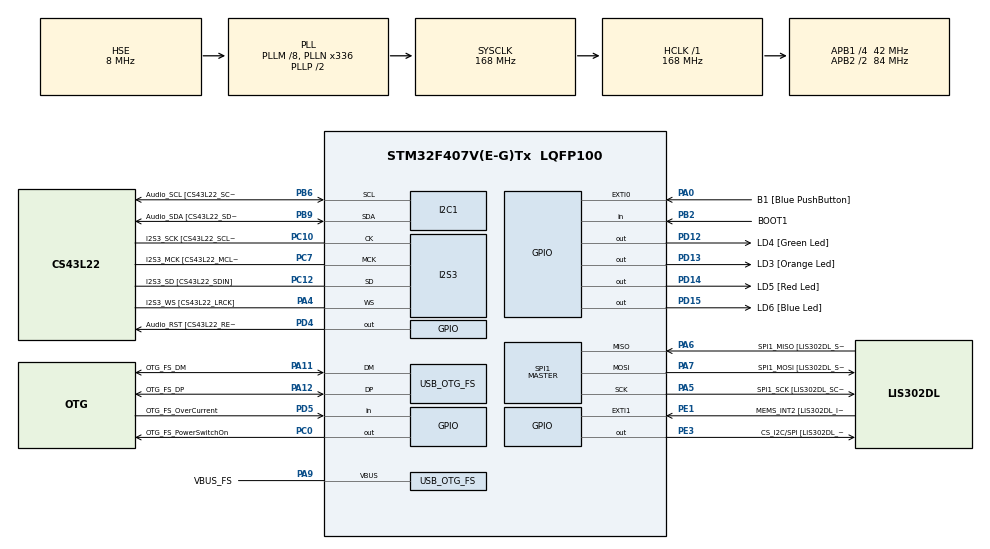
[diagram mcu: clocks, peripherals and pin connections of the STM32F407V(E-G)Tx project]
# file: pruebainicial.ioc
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FREERTOS.Tasks01=defaultTask,24,128,StartDefaultTask,Default,NULL,Dynamic,NULL,NULL
I2S3.AudioFreq-Half_Duplex_Master=I2S_AUDIOFREQ_96K
I2S3.ErrorAudioFreq=-2.34 %
I2S3.ErrorAudioFreq-Half_Duplex_Master=0.8 %
I2S3.FullDuplexMode=I2S_FULLDUPLEXMODE_DISABLE
I2S3.Instance=SPI$Index
I2S3.RealAudioFreq=93.75 KHz
I2S3.RealAudioFreq-Half_Duplex_Master=96.774 KHz
I2S3.VirtualMode=I2S_MODE_MASTER
Mcu.Family=STM32F4
Mcu.Name=STM32F407V(E-G)Tx
Mcu.Package=LQFP100
NVIC.OTG_FS_IRQn=true\:5\:0\:false\:false\:true\:true\:true\:true\:true
NVIC.PriorityGroup=NVIC_PRIORITYGROUP_4
NVIC.TIM1_UP_TIM10_IRQn=true\:15\:0\:false\:false\:true\:false\:false\:true\:true
NVIC.TimeBase=TIM1_UP_TIM10_IRQn
NVIC.TimeBaseIP=TIM1
PA0-WKUP.GPIO_Label=B1 [Blue PushButton]
PA0-WKUP.GPIO_ModeDefaultEXTI=GPIO_MODE_EVT_RISING
PA0-WKUP.GPIO_PuPd=GPIO_NOPULL
PA0-WKUP.Signal=GPXTI0
PA10.GPIO_Label=OTG_FS_ID
PA10.GPIO_Mode=GPIO_MODE_AF_PP
PA10.GPIO_PuPd=GPIO_NOPULL
PA10.GPIO_Speed=GPIO_SPEED_FREQ_LOW
PA10.Signal=USB_OTG_FS_ID
PA11.GPIO_Label=OTG_FS_DM
PA11.GPIO_Mode=GPIO_MODE_AF_PP
PA11.GPIO_PuPd=GPIO_NOPULL
PA11.GPIO_Speed=GPIO_SPEED_FREQ_LOW
PA11.Mode=Host_Only
PA11.Signal=USB_OTG_FS_DM
PA12.GPIO_Label=OTG_FS_DP
PA12.GPIO_Mode=GPIO_MODE_AF_PP
PA12.GPIO_PuPd=GPIO_NOPULL
PA12.GPIO_Speed=GPIO_SPEED_FREQ_LOW
PA12.Mode=Host_Only
PA12.Signal=USB_OTG_FS_DP
PA13.GPIO_Label=SWDIO
PA13.Mode=Serial_Wire
PA13.Signal=SYS_JTMS-SWDIO
PA14.GPIO_Label=SWCLK
PA14.Mode=Serial_Wire
PA14.Signal=SYS_JTCK-SWCLK
PA4.GPIO_Label=I2S3_WS [CS43L22_LRCK]
PA4.GPIO_Mode=GPIO_MODE_AF_PP
PA4.GPIO_PuPd=GPIO_NOPULL
PA4.GPIO_Speed=GPIO_SPEED_FREQ_LOW
PA4.Mode=Half_Duplex_Master
PA4.Signal=I2S3_WS
PA5.GPIO_Label=SPI1_SCK [LIS302DL_SCL/SPC]
PA5.GPIO_Mode=GPIO_MODE_AF_PP
PA5.GPIO_PuPd=GPIO_NOPULL
PA5.GPIO_Speed=GPIO_SPEED_FREQ_LOW
PA5.Mode=Full_Duplex_Master
PA5.Signal=SPI1_SCK
PA6.GPIO_Label=SPI1_MISO [LIS302DL_SDO]
PA6.GPIO_Mode=GPIO_MODE_AF_PP
PA6.GPIO_PuPd=GPIO_NOPULL
PA6.GPIO_Speed=GPIO_SPEED_FREQ_LOW
PA6.Mode=Full_Duplex_Master
PA6.Signal=SPI1_MISO
PA7.GPIO_Label=SPI1_MOSI [LIS302DL_SDA/SDI/SDO]
PA7.GPIO_Mode=GPIO_MODE_AF_PP
PA7.GPIO_PuPd=GPIO_NOPULL
PA7.GPIO_Speed=GPIO_SPEED_FREQ_LOW
PA7.Mode=Full_Duplex_Master
PA7.Signal=SPI1_MOSI
PA9.GPIO_Label=VBUS_FS
PA9.GPIO_Mode=GPIO_MODE_INPUT
PA9.GPIO_PuPd=GPIO_NOPULL
PA9.Mode=Activate_VBUS
PA9.Signal=USB_OTG_FS_VBUS
PB10.GPIO_Label=CLK_IN [MP45DT02_CLK]
PB10.GPIO_Mode=GPIO_MODE_AF_PP
PB10.GPIO_PuPd=GPIO_NOPULL
PB10.GPIO_Speed=GPIO_SPEED_FREQ_LOW
PB10.Signal=I2S2_CK
PB2.GPIO_Label=BOOT1
PB2.GPIO_Mode=GPIO_MODE_INPUT
PB2.GPIO_PuPd=GPIO_NOPULL
PB2.Signal=GPIO_Input
PB3.GPIO_Label=SWO
PB3.Signal=SYS_JTDO-SWO
PB6.GPIO_Label=Audio_SCL [CS43L22_SCL]
PB6.GPIO_Mode=GPIO_MODE_AF_OD
PB6.GPIO_Pu=GPIO_PULLUP
PB6.GPIO_PuPd=GPIO_NOPULL
PB6.GPIO_Speed=GPIO_SPEED_FREQ_LOW
PB6.Mode=I2C
PB6.Signal=I2C1_SCL
PB9.GPIO_Label=Audio_SDA [CS43L22_SDA]
PB9.GPIO_Mode=GPIO_MODE_AF_OD
PB9.GPIO_Pu=GPIO_PULLUP
PB9.GPIO_PuPd=GPIO_NOPULL
PB9.GPIO_Speed=GPIO_SPEED_FREQ_LOW
PB9.Mode=I2C
PB9.Signal=I2C1_SDA
PC0.GPIO_Label=OTG_FS_PowerSwitchOn
PC0.GPIO_PuPd=GPIO_NOPULL
PC0.GPIO_Speed=GPIO_SPEED_FREQ_LOW
PC0.PinState=GPIO_PIN_SET
PC0.Signal=GPIO_Output
PC10.GPIO_Label=I2S3_SCK [CS43L22_SCLK]
PC10.GPIO_Mode=GPIO_MODE_AF_PP
PC10.GPIO_PuPd=GPIO_NOPULL
PC10.GPIO_Speed=GPIO_SPEED_FREQ_LOW
PC10.Mode=Half_Duplex_Master
PC10.Signal=I2S3_CK
PC12.GPIO_Label=I2S3_SD [CS43L22_SDIN]
PC12.GPIO_Mode=GPIO_MODE_AF_PP
PC12.GPIO_PuPd=GPIO_NOPULL
PC12.GPIO_Speed=GPIO_SPEED_FREQ_LOW
PC12.Mode=Half_Duplex_Master
PC12.Signal=I2S3_SD
PC14-OSC32_IN.GPIO_Label=PC14-OSC32_IN
PC14-OSC32_IN.Mode=LSE-External-Oscillator
PC14-OSC32_IN.Signal=RCC_OSC32_IN
PC15-OSC32_OUT.GPIO_Label=PC15-OSC32_OUT
PC15-OSC32_OUT.Mode=LSE-External-Oscillator
PC15-OSC32_OUT.Signal=RCC_OSC32_OUT
PC3.GPIO_Label=PDM_OUT [MP45DT02_DOUT]
PC3.GPIO_Mode=GPIO_MODE_AF_PP
PC3.GPIO_PuPd=GPIO_NOPULL
PC3.GPIO_Speed=GPIO_SPEED_FREQ_LOW
PC3.Signal=I2S2_SD
PC7.GPIO_Label=I2S3_MCK [CS43L22_MCLK]
PC7.GPIO_Mode=GPIO_MODE_AF_PP
PC7.GPIO_PuPd=GPIO_NOPULL
PC7.GPIO_Speed=GPIO_SPEED_FREQ_LOW
PC7.Mode=Master_Clock_Activated
PC7.Signal=I2S3_MCK
PD12.GPIO_Label=LD4 [Green Led]
PD12.GPIO_PuPd=GPIO_NOPULL
PD12.GPIO_Speed=GPIO_SPEED_FREQ_LOW
PD12.Signal=GPIO_Output
PD13.GPIO_Label=LD3 [Orange Led]
PD13.GPIO_PuPd=GPIO_NOPULL
PD13.GPIO_Speed=GPIO_SPEED_FREQ_LOW
PD13.Signal=GPIO_Output
PD14.GPIO_Label=LD5 [Red Led]
PD14.GPIO_PuPd=GPIO_NOPULL
PD14.GPIO_Speed=GPIO_SPEED_FREQ_LOW
PD14.Signal=GPIO_Output
PD15.GPIO_Label=LD6 [Blue Led]
PD15.GPIO_PuPd=GPIO_NOPULL
PD15.GPIO_Speed=GPIO_SPEED_FREQ_LOW
PD15.Signal=GPIO_Output
PD4.GPIO_Label=Audio_RST [CS43L22_RESET]
PD4.GPIO_PuPd=GPIO_NOPULL
PD4.GPIO_Speed=GPIO_SPEED_FREQ_LOW
PD4.Signal=GPIO_Output
PD5.GPIO_Label=OTG_FS_OverCurrent
PD5.GPIO_Mode=GPIO_MODE_INPUT
PD5.GPIO_PuPd=GPIO_NOPULL
PD5.Signal=GPIO_Input
PE1.GPIO_Label=MEMS_INT2 [LIS302DL_INT2]
PE1.GPIO_ModeDefaultEXTI=GPIO_MODE_EVT_RISING
PE1.GPIO_PuPd=GPIO_NOPULL
PE1.Signal=GPXTI1
PE3.GPIO_Label=CS_I2C/SPI [LIS302DL_CS_I2C/SPI]
PE3.GPIO_PuPd=GPIO_NOPULL
PE3.GPIO_Speed=GPIO_SPEED_FREQ_LOW
PE3.Signal=GPIO_Output
PH0-OSC_IN.GPIO_Label=PH0-OSC_IN
PH0-OSC_IN.Mode=HSE-External-Oscillator
PH0-OSC_IN.Signal=RCC_OSC_IN
PH1-OSC_OUT.GPIO_Label=PH1-OSC_OUT
PH1-OSC_OUT.Mode=HSE-External-Oscillator
PH1-OSC_OUT.Signal=RCC_OSC_OUT
ProjectManager.HeapSize=0x200
ProjectManager.StackSize=0x400
ProjectManager.TargetToolchain=STM32CubeIDE
RCC.48MHZClocksFreq_Value=48000000
RCC.AHBFreq_Value=168000000
RCC.APB1CLKDivider=RCC_HCLK_DIV4
RCC.APB1Freq_Value=42000000
RCC.APB1TimFreq_Value=84000000
RCC.APB2CLKDivider=RCC_HCLK_DIV2
RCC.APB2Freq_Value=84000000
RCC.APB2TimFreq_Value=168000000
RCC.CortexFreq_Value=168000000
RCC.HCLKFreq_Value=168000000
RCC.HSE_VALUE=8000000
RCC.HSI_VALUE=16000000
RCC.PLLM=8
RCC.PLLN=336
RCC.PLLQ=7
RCC.SYSCLKFreq_VALUE=168000000
RCC.SYSCLKSource=RCC_SYSCLKSOURCE_PLLCLK
RCC.VCOOutputFreq_Value=336000000
SPI1.BaudRatePrescaler-Full_Duplex_Master=SPI_BAUDRATEPRESCALER_2
SPI1.CalculateBaudRate-Full_Duplex_Master=42.0 MBits/s
SPI1.Direction=SPI_DIRECTION_2LINES
SPI1.Mode=SPI_MODE_MASTER
SPI1.Mode-Full_Duplex_Master=SPI_MODE_MASTER
SPI1.VirtualType=VM_MASTER
USB_HOST.BSP.number=1
USB_HOST.USBH_HandleTypeDef-CDC_FS=hUsbHostFS
USB_HOST.VirtualModeFS=Cdc
USB_HOST0.BSP.STBoard=false
USB_HOST0.BSP.api=Unknown
USB_HOST0.BSP.instance=PC0
USB_HOST0.BSP.ip=GPIO
USB_HOST0.BSP.mode=Output
USB_HOST0.BSP.name=Drive_VBUS_FS
USB_HOST0.BSP.solution=PC0
USB_OTG_FS.VirtualMode=Host_Only
USB_OTG_FS.phy_itface=HCD_PHY_EMBEDDED
VP_FREERTOS_VS_CMSIS_V2.Mode=CMSIS_V2
VP_SYS_VS_tim1.Mode=TIM1
VP_USB_HOST_VS_USB_HOST_CDC_FS.Mode=CDC_FS
board=STM32F407G-DISC1

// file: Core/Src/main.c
/* USER CODE BEGIN Header */
/**
  ******************************************************************************
  * @file           : main.c
  * @brief          : Main program body
  ******************************************************************************
  * @attention
  *
  * Copyright (c) 2026 STMicroelectronics.
  * All rights reserved.
  *
  * This software is licensed under terms that can be found in the LICENSE file
  * in the root directory of this software component.
  * If no LICENSE file comes with this software, it is provided AS-IS.
  *
  ******************************************************************************
  */
/* USER CODE END Header */
#include "main.h"
#include "cmsis_os.h"
#include "usb_host.h"

I2C_HandleTypeDef hi2c1;

I2S_HandleTypeDef hi2s3;

SPI_HandleTypeDef hspi1;

/* Definitions for defaultTask */
osThreadId_t defaultTaskHandle;
const osThreadAttr_t defaultTask_attributes = {
  .name = "defaultTask",
  .stack_size = 128 * 4,
  .priority = (osPriority_t) osPriorityNormal,
};

void SystemClock_Config(void);
static void MX_GPIO_Init(void);
static void MX_I2C1_Init(void);
static void MX_I2S3_Init(void);
static void MX_SPI1_Init(void);
void StartDefaultTask(void *argument);

int main(void)
{

  /* MCU Configuration--------------------------------------------------------*/

  /* Reset of all peripherals, Initializes the Flash interface and the Systick. */
  HAL_Init();

  /* Configure the system clock */
  SystemClock_Config();

  /* Initialize all configured peripherals */
  MX_GPIO_Init();
  MX_I2C1_Init();
  MX_I2S3_Init();
  MX_SPI1_Init();

  /* Init scheduler */
  osKernelInitialize();

  /* Create the thread(s) */
  /* creation of defaultTask */
  defaultTaskHandle = osThreadNew(StartDefaultTask, NULL, &defaultTask_attributes);

  /* Start scheduler */
  osKernelStart();

  /* We should never get here as control is now taken by the scheduler */

  /* Infinite loop */
  while (1)
  {

    /* USER CODE BEGIN 3 */
	  HAL_GPIO_WritePin(GPIOD, GPIO_PIN_13, GPIO_PIN_SET);

	  	  	for(long i=0; i<20; i++)
	  	  	{
	  	  		HAL_GPIO_TogglePin(GPIOD, GPIO_PIN_14);
	  	  		for(long j=0; j<625000; j++)
	  	  		{
	  	  			__NOP();
	  	  		}
	  	  	}
	  	  	HAL_GPIO_WritePin(GPIOD, GPIO_PIN_13, GPIO_PIN_RESET);
	  	  	HAL_GPIO_WritePin(GPIOD, GPIO_PIN_14, GPIO_PIN_RESET);
	  	  	osDelay(1000); }
  /* USER CODE END 3 */
}

void SystemClock_Config(void)
{
  RCC_OscInitTypeDef RCC_OscInitStruct = {0};
  RCC_ClkInitTypeDef RCC_ClkInitStruct = {0};

  /** Configure the main internal regulator output voltage
  */
  __HAL_RCC_PWR_CLK_ENABLE();
  __HAL_PWR_VOLTAGESCALING_CONFIG(PWR_REGULATOR_VOLTAGE_SCALE1);

  /** Initializes the RCC Oscillators according to the specified parameters
  * in the RCC_OscInitTypeDef structure.
  */
  RCC_OscInitStruct.OscillatorType = RCC_OSCILLATORTYPE_HSE;
  RCC_OscInitStruct.HSEState = RCC_HSE_ON;
  RCC_OscInitStruct.PLL.PLLState = RCC_PLL_ON;
  RCC_OscInitStruct.PLL.PLLSource = RCC_PLLSOURCE_HSE;
  RCC_OscInitStruct.PLL.PLLM = 8;
  RCC_OscInitStruct.PLL.PLLN = 336;
  RCC_OscInitStruct.PLL.PLLP = RCC_PLLP_DIV2;
  RCC_OscInitStruct.PLL.PLLQ = 7;
  if (HAL_RCC_OscConfig(&RCC_OscInitStruct) != HAL_OK)
  {
    Error_Handler();
  }

  /** Initializes the CPU, AHB and APB buses clocks
  */
  RCC_ClkInitStruct.ClockType = RCC_CLOCKTYPE_HCLK|RCC_CLOCKTYPE_SYSCLK
                              |RCC_CLOCKTYPE_PCLK1|RCC_CLOCKTYPE_PCLK2;
  RCC_ClkInitStruct.SYSCLKSource = RCC_SYSCLKSOURCE_PLLCLK;
  RCC_ClkInitStruct.AHBCLKDivider = RCC_SYSCLK_DIV1;
  RCC_ClkInitStruct.APB1CLKDivider = RCC_HCLK_DIV4;
  RCC_ClkInitStruct.APB2CLKDivider = RCC_HCLK_DIV2;

  if (HAL_RCC_ClockConfig(&RCC_ClkInitStruct, FLASH_LATENCY_5) != HAL_OK)
  {
    Error_Handler();
  }
}

static void MX_I2C1_Init(void)
{

  hi2c1.Instance = I2C1;
  hi2c1.Init.ClockSpeed = 100000;
  hi2c1.Init.DutyCycle = I2C_DUTYCYCLE_2;
  hi2c1.Init.OwnAddress1 = 0;
  hi2c1.Init.AddressingMode = I2C_ADDRESSINGMODE_7BIT;
  hi2c1.Init.DualAddressMode = I2C_DUALADDRESS_DISABLE;
  hi2c1.Init.OwnAddress2 = 0;
  hi2c1.Init.GeneralCallMode = I2C_GENERALCALL_DISABLE;
  hi2c1.Init.NoStretchMode = I2C_NOSTRETCH_DISABLE;
  if (HAL_I2C_Init(&hi2c1) != HAL_OK)
  {
    Error_Handler();
  }

}

static void MX_I2S3_Init(void)
{

  hi2s3.Instance = SPI3;
  hi2s3.Init.Mode = I2S_MODE_MASTER_TX;
  hi2s3.Init.Standard = I2S_STANDARD_PHILIPS;
  hi2s3.Init.DataFormat = I2S_DATAFORMAT_16B;
  hi2s3.Init.MCLKOutput = I2S_MCLKOUTPUT_ENABLE;
  hi2s3.Init.AudioFreq = I2S_AUDIOFREQ_96K;
  hi2s3.Init.CPOL = I2S_CPOL_LOW;
  hi2s3.Init.ClockSource = I2S_CLOCK_PLL;
  hi2s3.Init.FullDuplexMode = I2S_FULLDUPLEXMODE_DISABLE;
  if (HAL_I2S_Init(&hi2s3) != HAL_OK)
  {
    Error_Handler();
  }

}

static void MX_SPI1_Init(void)
{

  /* SPI1 parameter configuration*/
  hspi1.Instance = SPI1;
  hspi1.Init.Mode = SPI_MODE_MASTER;
  hspi1.Init.Direction = SPI_DIRECTION_2LINES;
  hspi1.Init.DataSize = SPI_DATASIZE_8BIT;
  hspi1.Init.CLKPolarity = SPI_POLARITY_LOW;
  hspi1.Init.CLKPhase = SPI_PHASE_1EDGE;
  hspi1.Init.NSS = SPI_NSS_SOFT;
  hspi1.Init.BaudRatePrescaler = SPI_BAUDRATEPRESCALER_2;
  hspi1.Init.FirstBit = SPI_FIRSTBIT_MSB;
  hspi1.Init.TIMode = SPI_TIMODE_DISABLE;
  hspi1.Init.CRCCalculation = SPI_CRCCALCULATION_DISABLE;
  hspi1.Init.CRCPolynomial = 10;
  if (HAL_SPI_Init(&hspi1) != HAL_OK)
  {
    Error_Handler();
  }

}

static void MX_GPIO_Init(void)
{
  GPIO_InitTypeDef GPIO_InitStruct = {0};

  /* GPIO Ports Clock Enable */
  __HAL_RCC_GPIOE_CLK_ENABLE();
  __HAL_RCC_GPIOC_CLK_ENABLE();
  __HAL_RCC_GPIOH_CLK_ENABLE();
  __HAL_RCC_GPIOA_CLK_ENABLE();
  __HAL_RCC_GPIOB_CLK_ENABLE();
  __HAL_RCC_GPIOD_CLK_ENABLE();

  /*Configure GPIO pin Output Level */
  HAL_GPIO_WritePin(CS_I2C_SPI_GPIO_Port, CS_I2C_SPI_Pin, GPIO_PIN_RESET);

  /*Configure GPIO pin Output Level */
  HAL_GPIO_WritePin(OTG_FS_PowerSwitchOn_GPIO_Port, OTG_FS_PowerSwitchOn_Pin, GPIO_PIN_SET);

  /*Configure GPIO pin Output Level */
  HAL_GPIO_WritePin(GPIOD, LD4_Pin|LD3_Pin|LD5_Pin|LD6_Pin
                          |Audio_RST_Pin, GPIO_PIN_RESET);

  /*Configure GPIO pin : CS_I2C_SPI_Pin */
  GPIO_InitStruct.Pin = CS_I2C_SPI_Pin;
  GPIO_InitStruct.Mode = GPIO_MODE_OUTPUT_PP;
  GPIO_InitStruct.Pull = GPIO_NOPULL;
  GPIO_InitStruct.Speed = GPIO_SPEED_FREQ_LOW;
  HAL_GPIO_Init(CS_I2C_SPI_GPIO_Port, &GPIO_InitStruct);

  /*Configure GPIO pin : OTG_FS_PowerSwitchOn_Pin */
  GPIO_InitStruct.Pin = OTG_FS_PowerSwitchOn_Pin;
  GPIO_InitStruct.Mode = GPIO_MODE_OUTPUT_PP;
  GPIO_InitStruct.Pull = GPIO_NOPULL;
  GPIO_InitStruct.Speed = GPIO_SPEED_FREQ_LOW;
  HAL_GPIO_Init(OTG_FS_PowerSwitchOn_GPIO_Port, &GPIO_InitStruct);

  /*Configure GPIO pin : PDM_OUT_Pin */
  GPIO_InitStruct.Pin = PDM_OUT_Pin;
  GPIO_InitStruct.Mode = GPIO_MODE_AF_PP;
  GPIO_InitStruct.Pull = GPIO_NOPULL;
  GPIO_InitStruct.Speed = GPIO_SPEED_FREQ_LOW;
  GPIO_InitStruct.Alternate = GPIO_AF5_SPI2;
  HAL_GPIO_Init(PDM_OUT_GPIO_Port, &GPIO_InitStruct);

  /*Configure GPIO pin : B1_Pin */
  GPIO_InitStruct.Pin = B1_Pin;
  GPIO_InitStruct.Mode = GPIO_MODE_EVT_RISING;
  GPIO_InitStruct.Pull = GPIO_NOPULL;
  HAL_GPIO_Init(B1_GPIO_Port, &GPIO_InitStruct);

  /*Configure GPIO pin : BOOT1_Pin */
  GPIO_InitStruct.Pin = BOOT1_Pin;
  GPIO_InitStruct.Mode = GPIO_MODE_INPUT;
  GPIO_InitStruct.Pull = GPIO_NOPULL;
  HAL_GPIO_Init(BOOT1_GPIO_Port, &GPIO_InitStruct);

  /*Configure GPIO pin : CLK_IN_Pin */
  GPIO_InitStruct.Pin = CLK_IN_Pin;
  GPIO_InitStruct.Mode = GPIO_MODE_AF_PP;
  GPIO_InitStruct.Pull = GPIO_NOPULL;
  GPIO_InitStruct.Speed = GPIO_SPEED_FREQ_LOW;
  GPIO_InitStruct.Alternate = GPIO_AF5_SPI2;
  HAL_GPIO_Init(CLK_IN_GPIO_Port, &GPIO_InitStruct);

  /*Configure GPIO pins : LD4_Pin LD3_Pin LD5_Pin LD6_Pin
                           Audio_RST_Pin */
  GPIO_InitStruct.Pin = LD4_Pin|LD3_Pin|LD5_Pin|LD6_Pin
                          |Audio_RST_Pin;
  GPIO_InitStruct.Mode = GPIO_MODE_OUTPUT_PP;
  GPIO_InitStruct.Pull = GPIO_NOPULL;
  GPIO_InitStruct.Speed = GPIO_SPEED_FREQ_LOW;
  HAL_GPIO_Init(GPIOD, &GPIO_InitStruct);

  /*Configure GPIO pin : OTG_FS_OverCurrent_Pin */
  GPIO_InitStruct.Pin = OTG_FS_OverCurrent_Pin;
  GPIO_InitStruct.Mode = GPIO_MODE_INPUT;
  GPIO_InitStruct.Pull = GPIO_NOPULL;
  HAL_GPIO_Init(OTG_FS_OverCurrent_GPIO_Port, &GPIO_InitStruct);

  /*Configure GPIO pin : MEMS_INT2_Pin */
  GPIO_InitStruct.Pin = MEMS_INT2_Pin;
  GPIO_InitStruct.Mode = GPIO_MODE_EVT_RISING;
  GPIO_InitStruct.Pull = GPIO_NOPULL;
  HAL_GPIO_Init(MEMS_INT2_GPIO_Port, &GPIO_InitStruct);

}

void StartDefaultTask(void *argument)
{
  /* init code for USB_HOST */
  MX_USB_HOST_Init();
  /* USER CODE BEGIN 5 */
  /* Infinite loop */
  for(;;)
  {
	  HAL_GPIO_WritePin(GPIOD, GPIO_PIN_13, GPIO_PIN_SET);

	 	  	  	for(long i=0; i<20; i++)
	 	  	  	{
	 	  	  		HAL_GPIO_TogglePin(GPIOD, GPIO_PIN_14);
	 	  	  		for(long j=0; j<625000; j++)
	 	  	  		{
	 	  	  			__NOP();
	 	  	  		}
	 	  	  	}
	 	  	  	HAL_GPIO_WritePin(GPIOD, GPIO_PIN_13, GPIO_PIN_RESET);
	 	  	  	HAL_GPIO_WritePin(GPIOD, GPIO_PIN_14, GPIO_PIN_RESET);
	 	  	  	osDelay(1000);
  }
  /* USER CODE END 5 */
}

void HAL_TIM_PeriodElapsedCallback(TIM_HandleTypeDef *htim)
{
  if (htim->Instance == TIM1)
  {
    HAL_IncTick();
  }
}

void Error_Handler(void)
{
  __disable_irq();
  while (1)
  {
  }
}
